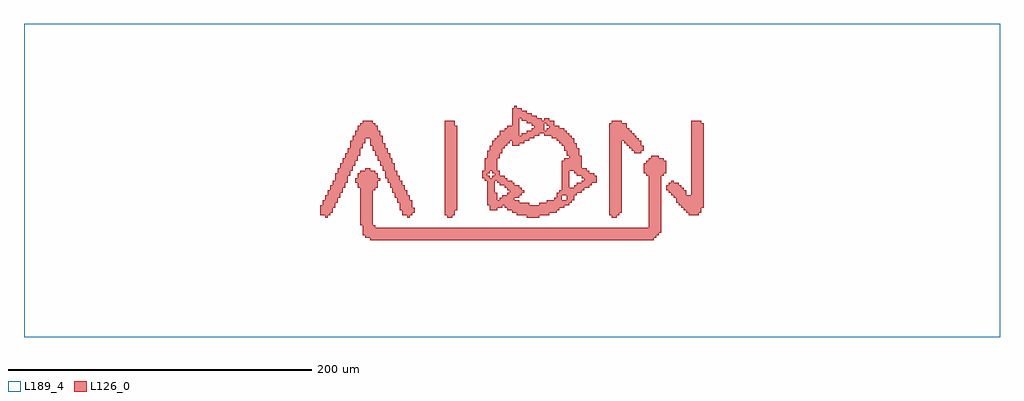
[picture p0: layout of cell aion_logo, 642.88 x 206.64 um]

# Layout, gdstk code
import gdstk
lib = gdstk.Library(unit=1e-6, precision=1e-09)
def R(c, l, rs):  # rectangles x0, y0, x1, y1
    for r in rs: c.add(gdstk.rectangle(r[:2], r[2:], *l))
def P(c, l, *ps):  # polygons
    for p in ps: c.add(gdstk.Polygon(p, *l))
L126_0 = (126, 0)
L189_4 = (189, 4)

aion_logo = lib.new_cell('aion_logo')
P(aion_logo, L126_0, [(385.4,129.56),(395.24,129.56),(395.24,127.92),(396.88,127.92),(396.88,126.28),(398.52,126.28),(398.52,124.64),(400.16,124.64),(400.16,123),(401.8,123),(401.8,121.36),(406.72,121.36),(406.72,123),(408.36,123),(408.36,126.28),(406.72,126.28),(406.72,129.56),(405.08,129.56),(405.08,131.2),(403.44,131.2),(403.44,132.84),(401.8,132.84),(401.8,134.48),(400.16,134.48),(400.16,136.12),(398.52,136.12),(398.52,137.76),(396.88,137.76),(396.88,141.04),(393.6,141.04),(393.6,142.68),(387.04,142.68),(387.04,141.04),(385.4,141.04)],
  [(221.4,139.4),(219.76,139.4),(219.76,136.12),(218.12,136.12),(218.12,132.84),(216.48,132.84),(216.48,129.56),(214.84,129.56),(214.84,124.64),(213.2,124.64),(213.2,121.36),(211.56,121.36),(211.56,118.08),(209.92,118.08),(209.92,114.8),(208.28,114.8),(208.28,111.52),(206.64,111.52),(206.64,108.24),(205,108.24),(205,103.32),(203.36,103.32),(203.36,100.04),(201.72,100.04),(201.72,96.76),(200.08,96.76),(200.08,93.48),(198.44,93.48),(198.44,90.2),(196.8,90.2),(196.8,86.92),(195.16,86.92),(195.16,80.36),(198.44,80.36),(198.44,78.72),(200.08,78.72),(200.08,80.36),(201.72,80.36),(201.72,82),(203.36,82),(203.36,85.28),(205,85.28),(205,88.56),(206.64,88.56),(206.64,91.84),(208.28,91.84),(208.28,95.12),(209.92,95.12),(209.92,98.4),(211.56,98.4),(211.56,101.68),(213.2,101.68),(213.2,106.6),(214.84,106.6),(214.84,109.88),(216.48,109.88),(216.48,113.16),(218.12,113.16),(218.12,116.44),(219.76,116.44),(219.76,119.72),(221.4,119.72),(221.4,124.64),(223.04,124.64),(223.04,127.92),(224.68,127.92),(224.68,131.2),(227.96,131.2),(227.96,126.28),(229.6,126.28),(229.6,123),(231.24,123),(231.24,119.72),(232.88,119.72),(232.88,116.44),(234.52,116.44),(234.52,113.16),(236.16,113.16),(236.16,109.88),(237.8,109.88),(237.8,104.96),(239.44,104.96),(239.44,101.68),(241.08,101.68),(241.08,98.4),(242.72,98.4),(242.72,95.12),(244.36,95.12),(244.36,91.84),(246,91.84),(246,88.56),(247.64,88.56),(247.64,83.64),(249.28,83.64),(249.28,80.36),(252.56,80.36),(252.56,78.72),(254.2,78.72),(254.2,80.36),(255.84,80.36),(255.84,82),(257.48,82),(257.48,85.28),(255.84,85.28),(255.84,90.2),(254.2,90.2),(254.2,93.48),(252.56,93.48),(252.56,96.76),(250.92,96.76),(250.92,100.04),(249.28,100.04),(249.28,103.32),(247.64,103.32),(247.64,106.6),(246,106.6),(246,109.88),(244.36,109.88),(244.36,114.8),(242.72,114.8),(242.72,118.08),(241.08,118.08),(241.08,121.36),(239.44,121.36),(239.44,124.64),(237.8,124.64),(237.8,127.92),(236.16,127.92),(236.16,132.84),(234.52,132.84),(234.52,136.12),(232.88,136.12),(232.88,139.4),(231.24,139.4),(231.24,141.04),(229.6,141.04),(229.6,142.68),(223.04,142.68),(223.04,141.04),(221.4,141.04)],
  [(278.8,80.36),(278.8,78.72),(282.08,78.72),(282.08,80.36),(283.72,80.36),(283.72,83.64),(285.36,83.64),(285.36,139.4),(283.72,139.4),(283.72,142.68),(277.16,142.68),(277.16,80.36)],
  [(387.04,80.36),(387.04,78.72),(390.32,78.72),(390.32,80.36),(391.96,80.36),(391.96,82),(393.6,82),(393.6,129.56),(385.4,129.56),(385.4,80.36)],
  [(221.4,108.24),(219.76,108.24),(219.76,104.96),(218.12,104.96),(218.12,101.68),(219.76,101.68),(219.76,98.4),(221.4,98.4),(221.4,73.8),(223.04,73.8),(223.04,67.24),(224.68,67.24),(224.68,65.6),(227.96,65.6),(227.96,63.96),(414.92,63.96),(414.92,65.6),(416.56,65.6),(416.56,67.24),(418.2,67.24),(418.2,68.88),(419.84,68.88),(419.84,106.6),(421.48,106.6),(421.48,108.24),(423.12,108.24),(423.12,116.44),(421.48,116.44),(421.48,118.08),(418.2,118.08),(418.2,119.72),(413.28,119.72),(413.28,118.08),(411.64,118.08),(411.64,116.44),(410,116.44),(410,114.8),(408.36,114.8),(408.36,108.24),(410,108.24),(410,106.6),(411.64,106.6),(411.64,72.16),(231.24,72.16),(231.24,73.8),(229.6,73.8),(229.6,96.76),(231.24,96.76),(231.24,98.4),(232.88,98.4),(232.88,103.32),(234.52,103.32),(234.52,104.96),(232.88,104.96),(232.88,108.24),(231.24,108.24),(231.24,109.88),(227.96,109.88),(227.96,111.52),(224.68,111.52),(224.68,109.88),(221.4,109.88)],
  [(424.76,100.04),(423.12,100.04),(423.12,96.76),(424.76,96.76),(424.76,95.12),(426.4,95.12),(426.4,93.48),(428.04,93.48),(428.04,91.84),(429.68,91.84),(429.68,88.56),(431.32,88.56),(431.32,86.92),(432.96,86.92),(432.96,85.28),(434.6,85.28),(434.6,83.64),(436.24,83.64),(436.24,82),(437.88,82),(437.88,80.36),(444.44,80.36),(444.44,82),(446.08,82),(446.08,85.28),(447.72,85.28),(447.72,141.04),(446.08,141.04),(446.08,142.68),(439.52,142.68),(439.52,93.48),(436.24,93.48),(436.24,96.76),(434.6,96.76),(434.6,98.4),(432.96,98.4),(432.96,100.04),(431.32,100.04),(431.32,101.68),(428.04,101.68),(428.04,103.32),(426.4,103.32),(426.4,101.68),(424.76,101.68)],
  [(311.6,83.64),(311.6,85.28),(314.88,85.28),(314.88,86.92),(306.68,86.92),(306.68,83.64)],
  [(313.24,118.08),(313.24,121.36),(314.88,121.36),(314.88,124.64),(316.52,124.64),(316.52,126.28),(318.16,126.28),(318.16,127.92),(319.8,127.92),(319.8,129.56),(321.44,129.56),(321.44,126.28),(326.36,126.28),(326.36,127.92),(329.64,127.92),(329.64,129.56),(332.92,129.56),(332.92,136.12),(331.28,136.12),(331.28,134.48),(328,134.48),(328,132.84),(326.36,132.84),(326.36,144.32),(328,144.32),(328,142.68),(331.28,142.68),(331.28,141.04),(332.92,141.04),(332.92,147.6),(331.28,147.6),(331.28,149.24),(328,149.24),(328,150.88),(324.72,150.88),(324.72,152.52),(323.08,152.52),(323.08,150.88),(321.44,150.88),(321.44,139.4),(318.16,139.4),(318.16,137.76),(316.52,137.76),(316.52,136.12),(313.24,136.12),(313.24,132.84),(311.6,132.84),(311.6,131.2),(309.96,131.2),(309.96,129.56),(308.32,129.56),(308.32,126.28),(306.68,126.28),(306.68,123),(305.04,123),(305.04,118.08),(303.4,118.08),(303.4,109.88),(301.76,109.88),(301.76,106.6),(305.04,106.6),(305.04,108.24),(306.68,108.24),(306.68,109.88),(308.32,109.88),(308.32,108.24),(309.96,108.24),(309.96,106.6),(308.32,106.6),(308.32,104.96),(306.68,104.96),(306.68,106.6),(305.04,106.6),(301.76,106.6),(301.76,104.96),(303.4,104.96),(303.4,103.32),(305.04,103.32),(305.04,95.12),(309.96,95.12),(309.96,103.32),(311.6,103.32),(311.6,101.68),(313.24,101.68),(313.24,100.04),(316.52,100.04),(316.52,98.4),(318.16,98.4),(318.16,96.76),(319.8,96.76),(319.8,95.12),(318.16,95.12),(318.16,93.48),(314.88,93.48),(314.88,91.84),(313.24,91.84),(313.24,90.2),(311.6,90.2),(311.6,95.12),(309.96,95.12),(305.04,95.12),(305.04,86.92),(316.52,86.92),(316.52,85.28),(318.16,85.28),(318.16,83.64),(321.44,83.64),(321.44,82),(324.72,82),(324.72,80.36),(331.28,80.36),(331.28,78.72),(332.92,78.72),(332.92,88.56),(326.36,88.56),(326.36,90.2),(323.08,90.2),(323.08,91.84),(326.36,91.84),(326.36,93.48),(328,93.48),(328,95.12),(329.64,95.12),(329.64,96.76),(328,96.76),(328,98.4),(326.36,98.4),(326.36,100.04),(323.08,100.04),(323.08,101.68),(321.44,101.68),(321.44,103.32),(318.16,103.32),(318.16,104.96),(316.52,104.96),(316.52,106.6),(313.24,106.6),(313.24,109.88),(311.6,109.88),(311.6,118.08)],
  [(339.48,78.72),(339.48,80.36),(346.04,80.36),(346.04,82),(350.96,82),(350.96,83.64),(352.6,83.64),(352.6,85.28),(355.88,85.28),(355.88,86.92),(359.16,86.92),(359.16,88.56),(360.8,88.56),(360.8,90.2),(362.44,90.2),(362.44,93.48),(364.08,93.48),(364.08,95.12),(367.36,95.12),(367.36,96.76),(369,96.76),(369,98.4),(372.28,98.4),(372.28,100.04),(373.92,100.04),(373.92,101.68),(377.2,101.68),(377.2,106.6),(375.56,106.6),(375.56,108.24),(372.28,108.24),(372.28,109.88),(370.64,109.88),(370.64,111.52),(367.36,111.52),(367.36,119.72),(365.72,119.72),(365.72,124.64),(364.08,124.64),(364.08,127.92),(362.44,127.92),(362.44,131.2),(360.8,131.2),(360.8,132.84),(359.16,132.84),(359.16,134.48),(357.52,134.48),(357.52,136.12),(355.88,136.12),(355.88,137.76),(352.6,137.76),(352.6,139.4),(349.32,139.4),(349.32,142.68),(346.04,142.68),(346.04,144.32),(342.76,144.32),(342.76,142.68),(341.12,142.68),(341.12,144.32),(337.84,144.32),(337.84,145.96),(334.56,145.96),(334.56,147.6),(332.92,147.6),(332.92,141.04),(334.56,141.04),(334.56,139.4),(336.2,139.4),(336.2,137.76),(334.56,137.76),(334.56,136.12),(342.76,136.12),(342.76,141.04),(344.4,141.04),(344.4,139.4),(346.04,139.4),(346.04,137.76),(344.4,137.76),(344.4,136.12),(342.76,136.12),(334.56,136.12),(332.92,136.12),(332.92,131.2),(336.2,131.2),(336.2,132.84),(339.48,132.84),(339.48,134.48),(342.76,134.48),(342.76,132.84),(347.68,132.84),(347.68,131.2),(350.96,131.2),(350.96,129.56),(352.6,129.56),(352.6,127.92),(354.24,127.92),(354.24,126.28),(355.88,126.28),(355.88,123),(357.52,123),(357.52,119.72),(359.16,119.72),(359.16,118.08),(355.88,118.08),(355.88,116.44),(354.24,116.44),(354.24,98.4),(359.16,98.4),(359.16,109.88),(362.44,109.88),(362.44,108.24),(364.08,108.24),(364.08,106.6),(367.36,106.6),(367.36,104.96),(369,104.96),(369,103.32),(367.36,103.32),(367.36,101.68),(364.08,101.68),(364.08,100.04),(362.44,100.04),(362.44,98.4),(359.16,98.4),(354.24,98.4),(354.24,96.76),(352.6,96.76),(352.6,95.12),(350.96,95.12),(350.96,91.84),(349.32,91.84),(349.32,90.2),(354.24,90.2),(354.24,93.48),(357.52,93.48),(357.52,90.2),(354.24,90.2),(349.32,90.2),(344.4,90.2),(344.4,88.56),(339.48,88.56),(339.48,86.92),(332.92,86.92),(332.92,78.72)])
R(aion_logo, L189_4, [(0,0,642.88,206.64)])

lib.write_gds('aion_logo.gds')
